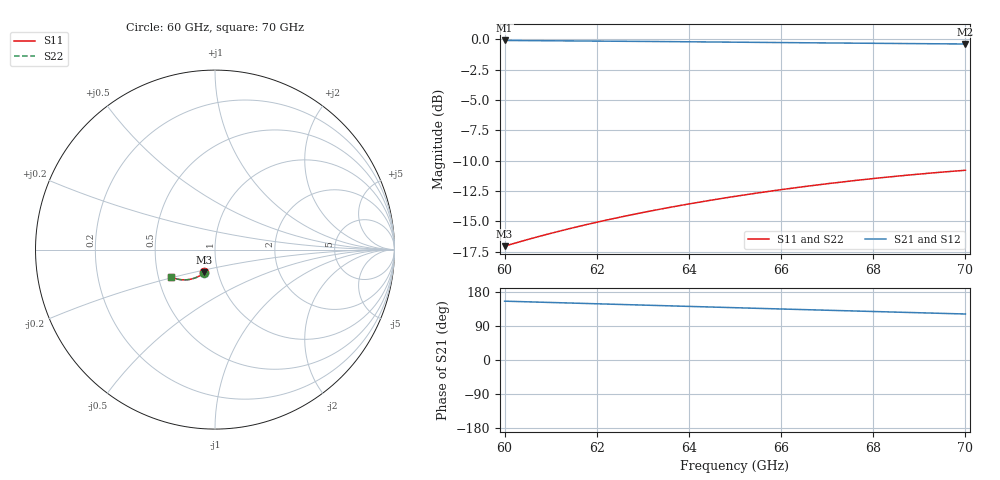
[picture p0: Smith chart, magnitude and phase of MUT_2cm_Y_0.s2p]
! TOUCHSTONE file generated by CST MICROWAVE STUDIO
! Date and time: Tue Feb 27 23:06:26 2024
! Project name: material_angular.cst
! Parameters = {Yi=0; iiii=5; exis2=5; exis=5; X=5; Z=5; Y=2}
! Header version: 2018
! Port assignment regex: !\s*Touchstone port\s*([0-9]+)\s*=\s*(CST MWS port|CST DS port)\s*([0-9]+|Zmin|Zmax)\s*\(\"(.*)\"\)(\s*mode\s*([0-9]+))?.*
! Touchstone port assignment:
! Touchstone port 1 = CST MWS port 1 ("")
! Touchstone port 2 = CST MWS port 2 ("")
# GHz S MA R 376.7
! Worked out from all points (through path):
!   1001 points, 60 GHz to 70 GHz, reference 376.7 ohm
!   highest |S21| = -0.09 dB at 60 GHz (marker M1); lowest = -0.4 dB at 70 GHz (marker M2)
!   group delay of S21, straight-line fit = 9.42 ps
!   lowest |S11| = -17.0 dB at 60 GHz (marker M3), VSWR 1.33, Z = 325 - j84.5 ohm
!   |S11| at or under -10 dB: start of sweep to end of sweep
!   |S22| runs from -17.0 to -10.8 dB; largest |S21 - S12| = 0.00068
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60  0.1405 -114.8  0.9901 155.2  0.9897 155.3  0.1405 -114.7
60.05  0.1415 -115.0  0.99 155.1  0.9896 155.1  0.1414 -114.9
60.46  0.1489 -116.4  0.9888 153.6  0.9885 153.6  0.1489 -116.3
60.88  0.1566 -117.9  0.9876 152.2  0.9874 152.2  0.1565 -117.8
61.27  0.1635 -119.3  0.9865 150.8  0.9863 150.8  0.1634 -119.1
61.67  0.1706 -120.6  0.9853 149.4  0.9853 149.4  0.1705 -120.5
62.07  0.1776 -122.0  0.9841 148.0  0.9842 148.0  0.1775 -121.9
62.48  0.1846 -123.5  0.9828 146.6  0.9831 146.6  0.1846 -123.3
62.9  0.1918 -124.9  0.9815 145.2  0.9819 145.2  0.1917 -124.8
63.34  0.1991 -126.4  0.98 143.6  0.9805 143.7  0.1991 -126.3
63.74  0.2056 -127.8  0.9787 142.3  0.9792 142.3  0.2056 -127.7
64.15  0.2122 -129.2  0.9773 140.9  0.9777 140.9  0.2122 -129.1
64.57  0.2188 -130.6  0.9758 139.4  0.9761 139.5  0.2188 -130.5
65  0.2255 -132.1  0.9742 138.0  0.9745 138.0  0.2255 -132.0
65.82  0.2377 -134.8  0.9713 135.2  0.9714 135.2  0.2377 -134.8
66.67  0.2497 -137.7  0.9681 132.3  0.9683 132.3  0.2497 -137.6
67.52  0.261 -140.5  0.9651 129.5  0.9653 129.5  0.2609 -140.5
68.34  0.2711 -143.2  0.9623 126.8  0.9625 126.8  0.271 -143.2
68.79  0.2763 -144.7  0.9608 125.3  0.9611 125.3  0.2762 -144.7
69.23  0.2811 -146.1  0.9595 123.9  0.9597 123.9  0.281 -146.1
69.95  0.2883 -148.5  0.9576 121.5  0.9574 121.5  0.2883 -148.5
70  0.2888 -148.6  0.9574 121.4  0.9572 121.4  0.2888 -148.6
